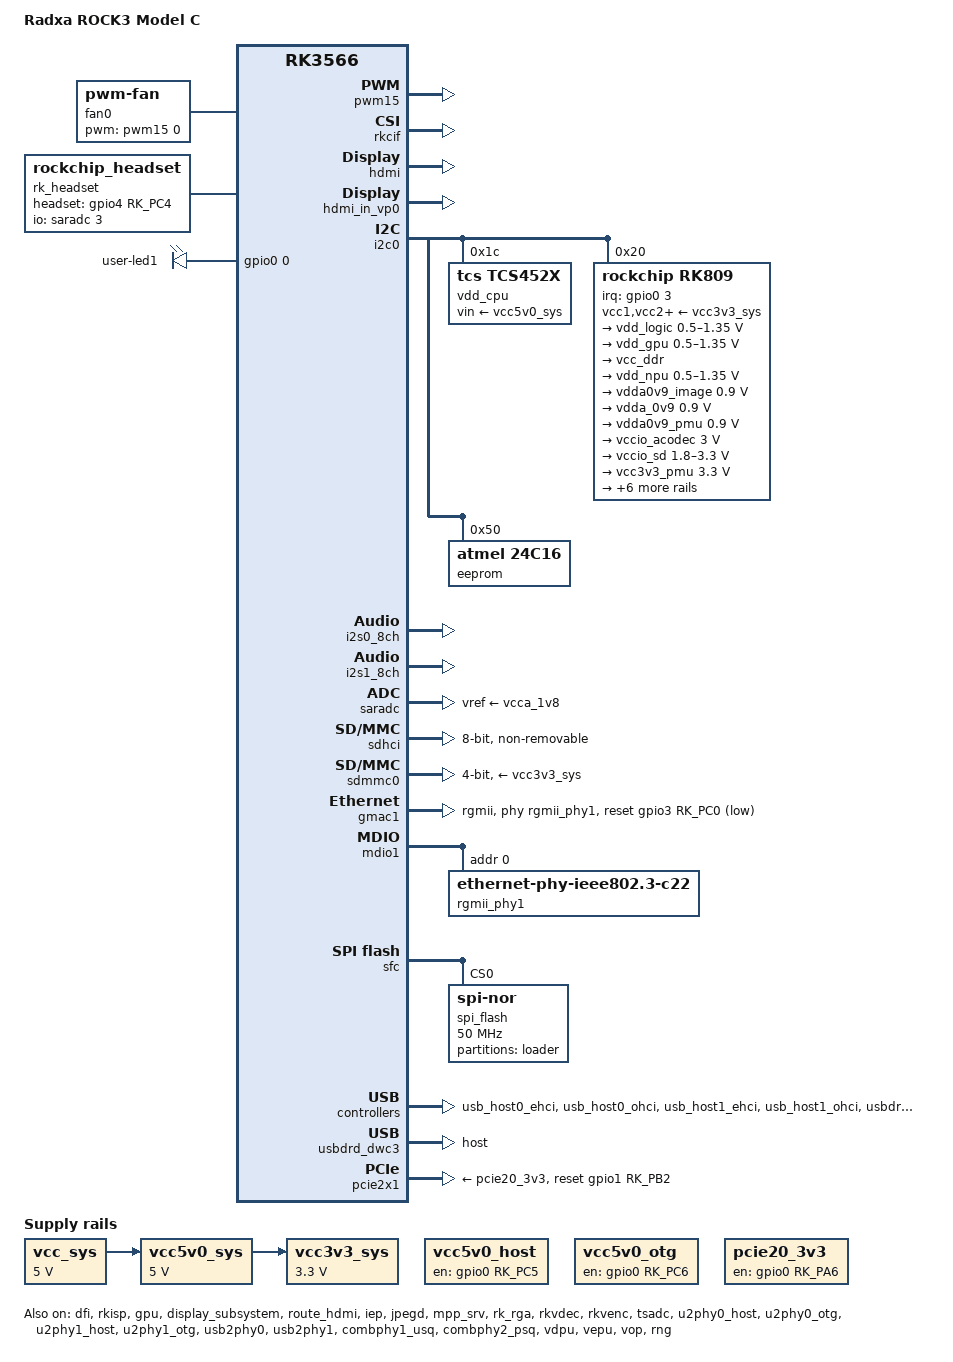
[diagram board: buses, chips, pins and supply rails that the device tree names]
// SPDX-License-Identifier: (GPL-2.0+ OR MIT)
/*
 * Copyright (c) 2020 Rockchip Electronics Co., Ltd.
 * Copyright (c) 2022 Radxa Limited.
 *
 */

/dts-v1/;
#include <dt-bindings/gpio/gpio.h>
#include <dt-bindings/pwm/pwm.h>
#include <dt-bindings/pinctrl/rockchip.h>
#include <dt-bindings/input/rk-input.h>
#include <dt-bindings/display/drm_mipi_dsi.h>
#include <dt-bindings/sensor-dev.h>
#include "rk3566.dtsi"

/ {
	model = "Radxa ROCK3 Model C";
	compatible = "radxa,rock-3c", "rockchip,rk3566";

	fan0: pwm-fan {
		compatible = "pwm-fan";
		#cooling-cells = <2>;
		cooling-levels = <0 64 128 192 255>;
		pwms = <&pwm15 0 40000 0>;
	};

	fiq_debugger: fiq-debugger {
		compatible = "rockchip,fiq-debugger";
		rockchip,serial-id = <2>;
		rockchip,wake-irq = <0>;
		/* If enable uart uses irq instead of fiq */
		rockchip,irq-mode-enable = <1>;
		rockchip,baudrate = <1500000>;  /* Only 115200 and 1500000 */
		interrupts = <GIC_SPI 252 IRQ_TYPE_LEVEL_LOW>;
		pinctrl-names = "default";
		pinctrl-0 = <&uart2m0_xfer>;
		status = "okay";
	};

	debug: debug@fd904000 {
		compatible = "rockchip,debug";
		reg = <0x0 0xfd904000 0x0 0x1000>,
			<0x0 0xfd905000 0x0 0x1000>,
			<0x0 0xfd906000 0x0 0x1000>,
			<0x0 0xfd907000 0x0 0x1000>;
	};

	cspmu: cspmu@fd90c000 {
		compatible = "rockchip,cspmu";
		reg = <0x0 0xfd90c000 0x0 0x1000>,
			<0x0 0xfd90d000 0x0 0x1000>,
			<0x0 0xfd90e000 0x0 0x1000>,
			<0x0 0xfd90f000 0x0 0x1000>;
	};

	hdmi_sound: hdmi-sound {
		compatible = "simple-audio-card";
		simple-audio-card,format = "i2s";
		simple-audio-card,mclk-fs = <128>;
		simple-audio-card,name = "rockchip-hdmi0";
		status = "okay";

		simple-audio-card,cpu {
			sound-dai = <&i2s0_8ch>;
		};
		simple-audio-card,codec {
			sound-dai = <&hdmi>;
		};
	};

	rk809_sound: rk809-sound {
		status = "okay";
		compatible = "simple-audio-card";
		simple-audio-card,format = "i2s";
		simple-audio-card,name = "rockchip-rk809";
		simple-audio-card,mclk-fs = <256>;

		simple-audio-card,cpu {
			sound-dai = <&i2s1_8ch>;
		};
		simple-audio-card,codec {
			sound-dai = <&rk809_codec>;
		};
	};

	rk_headset: rk-headset {
		compatible = "rockchip_headset";
		headset_gpio = <&gpio4 RK_PC4 GPIO_ACTIVE_HIGH>;
		pinctrl-names = "default";
		pinctrl-0 = <&hp_det>;
		io-channels = <&saradc 3>;	//HP_HOOK
	};

	vcc_sys: vcc-5v {
		compatible = "regulator-fixed";
		regulator-name = "vcc_sys";
		regulator-always-on;
		regulator-boot-on;
		regulator-min-microvolt = <5000000>;
		regulator-max-microvolt = <5000000>;
	};

	vcc3v3_sys: vcc3v3-sys {
		compatible = "regulator-fixed";
		regulator-name = "vcc3v3_sys";
		regulator-always-on;
		regulator-boot-on;
		regulator-min-microvolt = <3300000>;
		regulator-max-microvolt = <3300000>;
		vin-supply = <&vcc5v0_sys>;
	};

	vcc5v0_sys: vcc5v0-sys {
		compatible = "regulator-fixed";
		regulator-name = "vcc5v0_sys";
		regulator-always-on;
		regulator-boot-on;
		regulator-min-microvolt = <5000000>;
		regulator-max-microvolt = <5000000>;
		vin-supply = <&vcc_sys>;
	};

	vcc5v0_host: vcc5v0-host-regulator {
		compatible = "regulator-fixed";
		enable-active-high;
		gpio = <&gpio0 RK_PC5 GPIO_ACTIVE_HIGH>;
		pinctrl-names = "default";
		pinctrl-0 = <&vcc5v0_host_en>;
		regulator-name = "vcc5v0_host";
		regulator-always-on;
		regulator-boot-on;
	};

	vcc5v0_otg: vcc5v0-otg-regulator {
		compatible = "regulator-fixed";
		enable-active-high;
		gpio = <&gpio0 RK_PC6 GPIO_ACTIVE_HIGH>;
		pinctrl-names = "default";
		pinctrl-0 = <&vcc5v0_otg_en>;
		regulator-name = "vcc5v0_otg";
	};

	pcie20_3v3: pcie20-3v3-regulator {
		compatible = "regulator-fixed";
		enable-active-high;
		gpios = <&gpio0 RK_PA6 GPIO_ACTIVE_HIGH>;
		pinctrl-names = "default";
		pinctrl-0 = <&pcie20_3v3_en>;
		regulator-name = "pcie20_3v3";
		regulator-always-on;
		regulator-boot-on;
	};

	gpio-leds {
		compatible = "gpio-leds";
		status = "okay";

		user-led1 {
			gpios = <&gpio0 0 GPIO_ACTIVE_HIGH>;
			linux,default-trigger = "heartbeat";
			default-state = "on";
			pinctrl-0 = <&led_ctl>;
		};
	};
};

&cpu0 {
	cpu-supply = <&vdd_cpu>;
};

&pwm15 {
	pinctrl-names = "active";
	pinctrl-0 = <&pwm15m0_pins>;
	status = "okay";
};

&threshold {
	temperature = <60000>;
};

&soc_thermal {
	sustainable-power = <5000>; /* milliwatts */
	cooling-maps {
		map3 {
			trip = <&target>;
			cooling-device =
				<&fan0 THERMAL_NO_LIMIT THERMAL_NO_LIMIT>;
			contribution = <8192>;
		};
		map4 {
			trip = <&threshold>;
			cooling-device =
				<&fan0 THERMAL_NO_LIMIT THERMAL_NO_LIMIT>;
			contribution = <8192>;
		};
	};
};

&dfi {
	status = "okay";
};

&rkcif {
	status = "okay";
};

&rkcif_mmu {
	status = "okay";
};

&rkisp {
	status = "okay";
};

&rkisp_mmu {
	status = "okay";
};

&gpu {
	mali-supply = <&vdd_gpu>;
	status = "okay";
};

&display_subsystem {
	status = "okay";
};

&hdmi {
	status = "okay";
	preset_max_hdisplay = <1920>;
	preset_max_vdisplay = <1080>;
};

&hdmi_in_vp0 {
	status = "okay";
};

&hdmi_in_vp1 {
	status = "disabled";
};

&hdmi_sound {
	status = "okay";
};

&route_hdmi {
	status = "okay";
	connect = <&vp0_out_hdmi>;
};

&i2c0 {
	status = "okay";
	vdd_cpu: tcs4525@1c {
		compatible = "tcs,tcs452x";
		reg = <0x1c>;
		vin-supply = <&vcc5v0_sys>;
		regulator-compatible = "fan53555-reg";
		regulator-name = "vdd_cpu";
		regulator-min-microvolt = <712500>;
		regulator-max-microvolt = <1390000>;
		regulator-init-microvolt = <1000000>;
		regulator-ramp-delay = <2300>;
		fcs,suspend-voltage-selector = <1>;
		regulator-boot-on;
		regulator-always-on;
		regulator-state-mem {
			regulator-off-in-suspend;
		};
	};

	rk809: pmic@20 {
		compatible = "rockchip,rk809";
		reg = <0x20>;
		interrupt-parent = <&gpio0>;
		interrupts = <3 IRQ_TYPE_LEVEL_LOW>;

		pinctrl-names = "default", "pmic-sleep",
				"pmic-power-off", "pmic-reset";
		pinctrl-0 = <&pmic_int>;
		pinctrl-1 = <&soc_slppin_slp>, <&rk817_slppin_slp>;
		pinctrl-2 = <&soc_slppin_gpio>, <&rk817_slppin_pwrdn>;
		pinctrl-3 = <&soc_slppin_gpio>, <&rk817_slppin_rst>;

		rockchip,system-power-controller;
		wakeup-source;
		#clock-cells = <1>;
		clock-output-names = "rk808-clkout1", "rk808-clkout2";
		//fb-inner-reg-idxs = <2>;
		/* 1: rst regs (default in codes), 0: rst the pmic */
		pmic-reset-func = <0>;
		/* not save the PMIC_POWER_EN register in uboot */
		not-save-power-en = <1>;

		vcc1-supply = <&vcc3v3_sys>;
		vcc2-supply = <&vcc3v3_sys>;
		vcc3-supply = <&vcc3v3_sys>;
		vcc4-supply = <&vcc3v3_sys>;
		vcc5-supply = <&vcc3v3_sys>;
		vcc6-supply = <&vcc3v3_sys>;
		vcc7-supply = <&vcc3v3_sys>;
		vcc8-supply = <&vcc3v3_sys>;
		vcc9-supply = <&vcc3v3_sys>;

		pwrkey {
			status = "okay";
		};

		pinctrl_rk8xx: pinctrl_rk8xx {
			gpio-controller;
			#gpio-cells = <2>;

			rk817_slppin_null: rk817_slppin_null {
				pins = "gpio_slp";
				function = "pin_fun0";
			};

			rk817_slppin_slp: rk817_slppin_slp {
				pins = "gpio_slp";
				function = "pin_fun1";
			};

			rk817_slppin_pwrdn: rk817_slppin_pwrdn {
				pins = "gpio_slp";
				function = "pin_fun2";
			};

			rk817_slppin_rst: rk817_slppin_rst {
				pins = "gpio_slp";
				function = "pin_fun3";
			};
		};

		regulators {
			vdd_logic: DCDC_REG1 {
				regulator-always-on;
				regulator-boot-on;
				regulator-min-microvolt = <500000>;
				regulator-max-microvolt = <1350000>;
				regulator-init-microvolt = <900000>;
				regulator-ramp-delay = <6001>;
				regulator-initial-mode = <0x2>;
				regulator-name = "vdd_logic";
				regulator-state-mem {
					regulator-off-in-suspend;
				};
			};

			vdd_gpu: DCDC_REG2 {
				regulator-always-on;
				regulator-boot-on;
				regulator-min-microvolt = <500000>;
				regulator-max-microvolt = <1350000>;
				regulator-init-microvolt = <900000>;
				regulator-ramp-delay = <6001>;
				regulator-initial-mode = <0x2>;
				regulator-name = "vdd_gpu";
				regulator-state-mem {
					regulator-off-in-suspend;
				};
			};

			vcc_ddr: DCDC_REG3 {
				regulator-always-on;
				regulator-boot-on;
				regulator-initial-mode = <0x2>;
				regulator-name = "vcc_ddr";
				regulator-state-mem {
					regulator-on-in-suspend;
				};
			};

			vdd_npu: DCDC_REG4 {
				regulator-always-on;
				regulator-boot-on;
				regulator-min-microvolt = <500000>;
				regulator-max-microvolt = <1350000>;
				regulator-init-microvolt = <900000>;
				regulator-ramp-delay = <6001>;
				regulator-initial-mode = <0x2>;
				regulator-name = "vdd_npu";
				regulator-state-mem {
					regulator-off-in-suspend;
				};
			};

			vdda0v9_image: LDO_REG1 {
				regulator-boot-on;
				regulator-always-on;
				regulator-min-microvolt = <900000>;
				regulator-max-microvolt = <900000>;
				regulator-name = "vdda0v9_image";
				regulator-state-mem {
					regulator-off-in-suspend;
				};
			};

			vdda_0v9: LDO_REG2 {
				regulator-always-on;
				regulator-boot-on;
				regulator-min-microvolt = <900000>;
				regulator-max-microvolt = <900000>;
				regulator-name = "vdda_0v9";
				regulator-state-mem {
					regulator-off-in-suspend;
				};
			};

			vdda0v9_pmu: LDO_REG3 {
				regulator-always-on;
				regulator-boot-on;
				regulator-min-microvolt = <900000>;
				regulator-max-microvolt = <900000>;
				regulator-name = "vdda0v9_pmu";
				regulator-state-mem {
					regulator-on-in-suspend;
					regulator-suspend-microvolt = <900000>;
				};
			};

			vccio_acodec: LDO_REG4 {
				regulator-always-on;
				regulator-boot-on;
				regulator-min-microvolt = <3000000>;
				regulator-max-microvolt = <3000000>;
				regulator-name = "vccio_acodec";
				regulator-state-mem {
					regulator-off-in-suspend;
				};
			};

			vccio_sd: LDO_REG5 {
				regulator-always-on;
				regulator-boot-on;
				regulator-min-microvolt = <1800000>;
				regulator-max-microvolt = <3300000>;
				regulator-name = "vccio_sd";
				regulator-state-mem {
					regulator-off-in-suspend;
				};
			};

			vcc3v3_pmu: LDO_REG6 {
				regulator-always-on;
				regulator-boot-on;
				regulator-min-microvolt = <3300000>;
				regulator-max-microvolt = <3300000>;
				regulator-name = "vcc3v3_pmu";
				regulator-state-mem {
					regulator-on-in-suspend;
					regulator-suspend-microvolt = <3300000>;
				};
			};

			vcca_1v8: LDO_REG7 {
				regulator-always-on;
				regulator-boot-on;
				regulator-min-microvolt = <1800000>;
				regulator-max-microvolt = <1800000>;
				regulator-name = "vcca_1v8";
				regulator-state-mem {
					regulator-off-in-suspend;
				};
			};

			vcca1v8_pmu: LDO_REG8 {
				regulator-always-on;
				regulator-boot-on;
				regulator-min-microvolt = <1800000>;
				regulator-max-microvolt = <1800000>;
				regulator-name = "vcca1v8_pmu";
				regulator-state-mem {
					regulator-on-in-suspend;
					regulator-suspend-microvolt = <1800000>;
				};
			};

			vcca1v8_image: LDO_REG9 {
				regulator-always-on;
				regulator-boot-on;
				regulator-min-microvolt = <1800000>;
				regulator-max-microvolt = <1800000>;
				regulator-name = "vcca1v8_image";
				regulator-state-mem {
					regulator-off-in-suspend;
				};
			};

			vcc_1v8: DCDC_REG5 {
				regulator-always-on;
				regulator-boot-on;
				regulator-min-microvolt = <1800000>;
				regulator-max-microvolt = <1800000>;
				regulator-name = "vcc_1v8";
				regulator-state-mem {
					regulator-off-in-suspend;
				};
			};

			vcc_3v3: SWITCH_REG1 {
				regulator-always-on;
				regulator-boot-on;
				regulator-name = "vcc_3v3";
				regulator-state-mem {
					regulator-off-in-suspend;
				};
			};

			vcc3v3_sd: SWITCH_REG2 {
				regulator-always-on;
				regulator-boot-on;
				regulator-name = "vcc3v3_sd";
				regulator-state-mem {
					regulator-off-in-suspend;
				};
			};
		};

		rk809_codec: codec {
			#sound-dai-cells = <0>;
			compatible = "rockchip,rk809-codec", "rockchip,rk817-codec";
			clocks = <&cru I2S1_MCLKOUT>;
			clock-names = "mclk";
			assigned-clocks = <&cru I2S1_MCLKOUT>, <&cru I2S1_MCLK_TX_IOE>;
			assigned-clock-rates = <12288000>;
			assigned-clock-parents = <&cru I2S1_MCLKOUT_TX>, <&cru I2S1_MCLKOUT_TX>;
			pinctrl-names = "default";
			pinctrl-0 = <&i2s1m0_mclk>;
			hp-volume = <20>;
			spk-volume = <3>;
			mic-in-differential;
			status = "okay";
		};
	};

	eeprom:	at24c16@50 {
		status = "okay";
		compatible = "atmel,24c16";
		reg = <0x50>;
		pagesize = <16>;
	};
};

&gpio0 {
	gpio-line-names =
		/* GPIO0_A0-A3 */
		"", "", "", "",
		/* GPIO0_A4-A7 */
		"", "", "", "",

		/* GPIO0_B0-B3 */
		"", "", "", "",
		/* GPIO0_B4-B7 */
		"", "", "", "",

		/* GPIO0_C0-C3 */
		"", "", "", "",
		/* GPIO0_C4-C7 */
		"", "", "", "",

		/* GPIO0_D0-D3 */
		"PIN_10", "PIN_8", "", "",
		/* GPIO0_D4-D7 */
		"", "", "", "";
};

&gpio1 {
	gpio-line-names =
		/* GPIO1_A0-A3 */
		"PIN_3", "PIN_5", "", "",
		/* GPIO1_A4-A7 */
		"PIN_37", "", "", "",

		/* GPIO1_B0-B3 */
		"", "", "", "",
		/* GPIO1_B4-B7 */
		"", "", "", "",

		/* GPIO1_C0-C3 */
		"", "", "", "",
		/* GPIO1_C4-C7 */
		"", "", "", "",

		/* GPIO1_D0-D3 */
		"", "", "", "",
		/* GPIO1_D4-D7 */
		"", "", "", "";
};

&gpio2 {
	gpio-line-names =
		/* GPIO2_A0-A3 */
		"", "", "", "",
		/* GPIO2_A4-A7 */
		"", "", "", "",

		/* GPIO2_B0-B3 */
		"", "", "", "",
		/* GPIO2_B4-B7 */
		"", "", "", "",

		/* GPIO2_C0-C3 */
		"", "", "", "",
		/* GPIO2_C4-C7 */
		"", "", "", "",

		/* GPIO2_D0-D3 */
		"", "", "", "",
		/* GPIO2_D4-D7 */
		"", "", "", "";
};

&gpio3 {
	gpio-line-names =
		/* GPIO3_A0-A3 */
		"", "PIN_11", "PIN_13", "PIN_12",
		/* GPIO3_A4-A7 */
		"PIN_35", "PIN_40", "PIN_38", "PIN_36",

		/* GPIO3_B0-B3 */
		"PIN_15", "PIN_16", "PIN_18", "PIN_29",
		/* GPIO3_B4-B7 */
		"PIN_31", "", "", "",

		/* GPIO3_C0-C3 */
		"", "PIN_22", "PIN_32", "PIN_33",
		/* GPIO3_C4-C7 */
		"PIN_7", "", "", "",

		/* GPIO3_D0-D3 */
		"", "", "", "",
		/* GPIO3_D4-D7 */
		"", "", "", "";
};

&gpio4 {
	gpio-line-names =
		/* GPIO4_A0-A3 */
		"", "", "", "",
		/* GPIO4_A4-A7 */
		"", "", "", "",

		/* GPIO4_B0-B3 */
		"", "", "PIN_27", "PIN_28",
		/* GPIO4_B4-B7 */
		"", "", "", "",

		/* GPIO4_C0-C3 */
		"", "", "PIN_23", "PIN_19",
		/* GPIO4_C4-C7 */
		"", "PIN_21", "PIN_24", "",

		/* GPIO4_D0-D3 */
		"", "PIN_26", "", "",
		/* GPIO4_D4-D7 */
		"", "", "", "";
};

&i2s0_8ch {
	status = "okay";
};

&i2s1_8ch {
	status = "okay";
	rockchip,clk-trcm = <1>;
	pinctrl-names = "default";
	pinctrl-0 = <&i2s1m0_sclktx
		     &i2s1m0_lrcktx
		     &i2s1m0_sdi0
		     &i2s1m0_sdo0>;
};

&iep {
	status = "okay";
};

&iep_mmu {
	status = "okay";
};

&jpegd {
	status = "okay";
};

&jpegd_mmu {
	status = "okay";
};

&mpp_srv {
	status = "okay";
};

&pmu_io_domains {
	status = "okay";
	pmuio2-supply = <&vcca1v8_pmu>;
	vccio1-supply = <&vccio_acodec>;
	vccio3-supply = <&vccio_sd>;
	vccio4-supply = <&vcca1v8_pmu>;
	vccio5-supply = <&vcc_3v3>;
	vccio6-supply = <&vcc_3v3>;
	vccio7-supply = <&vcc_3v3>;
};

&rk_rga {
	status = "okay";
};

&rkvdec {
	status = "okay";
};

&rkvdec_mmu {
	status = "okay";
};

&rkvenc {
	venc-supply = <&vdd_logic>;
	status = "okay";
};

&rkvenc_mmu {
	status = "okay";
};

&rknpu {
	rknpu-supply = <&vdd_npu>;
};

&saradc {
	status = "okay";
	vref-supply = <&vcca_1v8>;
};

&sdhci {
	bus-width = <8>;
	supports-emmc;
	non-removable;
	max-frequency = <200000000>;
	status = "okay";
};

&sdmmc0 {
	max-frequency = <150000000>;
	supports-sd;
	no-sdio;
	no-mmc;
	bus-width = <4>;
	cap-mmc-highspeed;
	cap-sd-highspeed;
	disable-wp;
	num-slots = <1>;
	sd-uhs-sdr104;
	vmmc-supply = <&vcc3v3_sys>;
	vqmmc-supply = <&vccio_sd>;
	pinctrl-names = "default";
	pinctrl-0 = <&sdmmc0_bus4 &sdmmc0_clk &sdmmc0_cmd &sdmmc0_det>;
	status = "okay";
};

&gmac1 {
	phy-mode = "rgmii";
	clock_in_out = "output";

	snps,reset-gpio = <&gpio3 RK_PC0 GPIO_ACTIVE_LOW>;
	snps,reset-active-low;
	/* Reset time is 20ms, 100ms for rtl8211f */
	snps,reset-delays-us = <0 20000 100000>;

	assigned-clocks = <&cru SCLK_GMAC1_RX_TX>, <&cru SCLK_GMAC1>;
	assigned-clock-parents = <&cru SCLK_GMAC1_RGMII_SPEED>;
	assigned-clock-rates = <0>, <125000000>;

	pinctrl-names = "default";
	pinctrl-0 = <&gmac1m1_miim
		     &gmac1m1_tx_bus2
		     &gmac1m1_rx_bus2
		     &gmac1m1_rgmii_clk
		     &gmac1m1_rgmii_bus>;

	tx_delay = <0x47>;
	rx_delay = <0x27>;

	phy-handle = <&rgmii_phy1>;
	status = "okay";
};

&mdio1 {
	rgmii_phy1: phy@0 {
		compatible = "ethernet-phy-ieee802.3-c22";
		reg = <0x0>;
	};
};

&sfc {
	status = "okay";
	max-freq = <50000000>;
	#address-cells = <1>;
	#size-cells = <0>;
	pinctrl-names = "default";
	pinctrl-0 = <&fspi_pins>;

	spi_flash: spi-flash@0 {
		#address-cells = <1>;
		#size-cells = <0>;
		compatible = "jedec,spi-nor";
		reg = <0x0>;
		spi-max-frequency = <50000000>;
		spi-tx-bus-width = <1>;
		spi-rx-bus-width = <4>;
		status = "okay";

		partitions {
			compatible = "fixed-partitions";
			#address-cells = <1>;
			#size-cells = <1>;
			loader@0 {
				label = "loader";
				reg = <0x0 0x1000000>;
			};
		};
	};
};

&tsadc {
	status = "okay";
};

&u2phy0_host {
	phy-supply = <&vcc5v0_host>;
	status = "okay";
};

&u2phy0_otg {
	vbus-supply = <&vcc5v0_otg>;
	status = "okay";
};

&u2phy1_host {
	phy-supply = <&vcc5v0_host>;
	status = "okay";
};

&u2phy1_otg {
	phy-supply = <&vcc5v0_host>;
	status = "okay";
};

&usb2phy0 {
	status = "okay";
	pinctrl-names = "default";
};

&usb2phy1 {
	status = "okay";
};

&usb_host0_ehci {
	status = "okay";
};

&usb_host0_ohci {
	status = "okay";
};

&usb_host1_ehci {
	status = "okay";
};

&usb_host1_ohci {
	status = "okay";
};

&usbdrd_dwc3 {
	dr_mode = "host";
	status = "okay";
};

&usbdrd30 {
	status = "okay";
};

&usbhost_dwc3 {
	status = "okay";
};

&usbhost30 {
	status = "okay";
};

&pcie2x1 {
	reset-gpios = <&gpio1 RK_PB2 GPIO_ACTIVE_HIGH>;
	vpcie3v3-supply = <&pcie20_3v3>;
	pinctrl-0 = <&pcie20m2_pins>;
	status = "okay";
};

&combphy1_usq {
	status = "okay";
};

&combphy2_psq {
	status = "okay";
};

&vdpu {
	status = "okay";
};

&vdpu_mmu {
	status = "okay";
};

&vepu {
	status = "okay";
};

&vepu_mmu {
	status = "okay";
};

&vop {
	status = "okay";
	assigned-clocks = <&cru DCLK_VOP0>, <&cru DCLK_VOP1>;
	assigned-clock-parents = <&pmucru PLL_HPLL>, <&cru PLL_VPLL>;
};

&vop_mmu {
	status = "okay";
};

&reserved_memory {
	ramoops: ramoops@110000 {
		compatible = "ramoops";
		reg = <0x0 0x110000 0x0 0xf0000>;
		record-size = <0x20000>;
		console-size = <0x80000>;
		ftrace-size = <0x00000>;
		pmsg-size = <0x50000>;
	};
};

&rng {
	status = "okay";
};

&rockchip_suspend {
	status = "okay";
	rockchip,sleep-debug-en = <1>;
	rockchip,sleep-mode-config = <
		(0
		| RKPM_SLP_CENTER_OFF
		| RKPM_SLP_HW_PLLS_OFF
		| RKPM_SLP_PMUALIVE_32K
		| RKPM_SLP_32K_PVTM
		)
	>;
	rockchip,wakeup-config = <
		(0
		| RKPM_GPIO_WKUP_EN
		| RKPM_USB_WKUP_EN
		)
	>;
};

&pinctrl {
	pmic {
		pmic_int: pmic_int {
			rockchip,pins =
				<0 RK_PA3 RK_FUNC_GPIO &pcfg_pull_up>;
		};

		soc_slppin_gpio: soc_slppin_gpio {
			rockchip,pins =
				<0 RK_PA2 RK_FUNC_GPIO &pcfg_output_low_pull_down>;
		};

		soc_slppin_slp: soc_slppin_slp {
			rockchip,pins =
				<0 RK_PA2 1 &pcfg_pull_up>;
		};

		soc_slppin_rst: soc_slppin_rst {
			rockchip,pins =
				<0 RK_PA2 2 &pcfg_pull_none>;
		};
	};

	pcie {
		pcie20_3v3_en: pcie20-3v3-en {
			rockchip,pins = <0 RK_PA6 RK_FUNC_GPIO &pcfg_pull_none>;
		};
	};

	usb {
		vcc5v0_host_en: vcc5v0-host-en {
			rockchip,pins = <0 RK_PC5 RK_FUNC_GPIO &pcfg_pull_none>;
		};

		vcc5v0_otg_en: vcc5v0-otg-en {
			rockchip,pins = <0 RK_PC6 RK_FUNC_GPIO &pcfg_pull_none>;
		};
	};

	headphone {
		hp_det: hp-det {
			rockchip,pins = <4 RK_PC4 RK_FUNC_GPIO &pcfg_pull_up>;
		};
	};

	leds {
		led_ctl: led-ctl {
			rockchip,pins = <0 RK_PA0 RK_FUNC_GPIO &pcfg_pull_none>;
		};
	};
};
